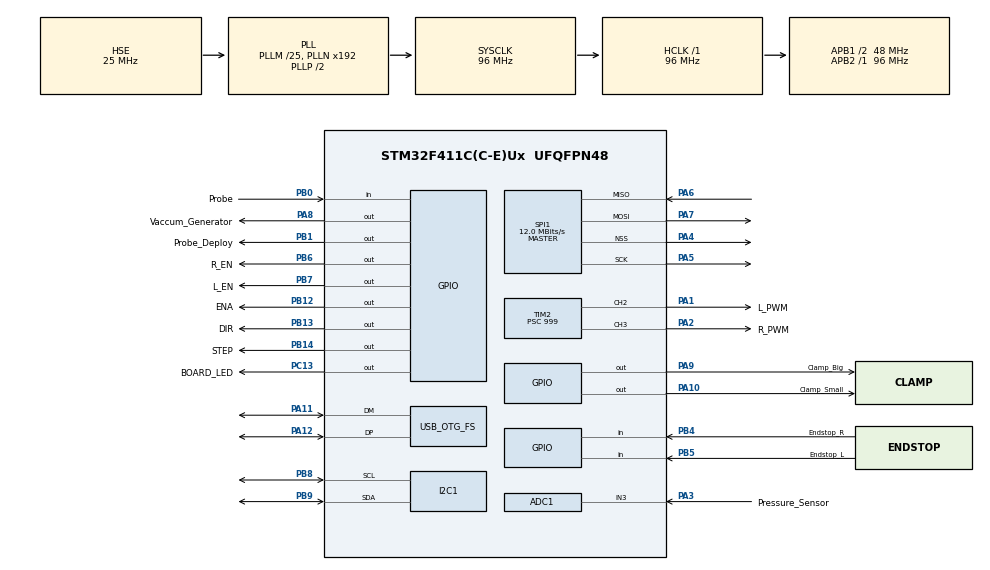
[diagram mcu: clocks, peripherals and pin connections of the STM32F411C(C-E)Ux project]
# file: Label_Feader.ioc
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ADC1.Channel-1\#ChannelRegularConversion=ADC_CHANNEL_3
ADC1.ContinuousConvMode=ENABLE
ADC1.DMAContinuousRequests=ENABLE
ADC1.DiscontinuousConvMode=DISABLE
ADC1.NbrOfConversionFlag=1
ADC1.Rank-1\#ChannelRegularConversion=1
ADC1.SamplingTime-1\#ChannelRegularConversion=ADC_SAMPLETIME_144CYCLES
ADC1.ScanConvMode=ENABLE
ADC1.master=1
Dma.ADC1.0.Direction=DMA_PERIPH_TO_MEMORY
Dma.ADC1.0.FIFOMode=DMA_FIFOMODE_DISABLE
Dma.ADC1.0.Instance=DMA2_Stream0
Dma.ADC1.0.MemDataAlignment=DMA_MDATAALIGN_HALFWORD
Dma.ADC1.0.MemInc=DMA_MINC_ENABLE
Dma.ADC1.0.Mode=DMA_CIRCULAR
Dma.ADC1.0.PeriphDataAlignment=DMA_PDATAALIGN_HALFWORD
Dma.ADC1.0.PeriphInc=DMA_PINC_DISABLE
Dma.ADC1.0.Priority=DMA_PRIORITY_LOW
Dma.Request0=ADC1
I2C1.I2C_Mode=I2C_Standard
Mcu.Family=STM32F4
Mcu.Name=STM32F411C(C-E)Ux
Mcu.Package=UFQFPN48
NVIC.DMA2_Stream0_IRQn=true\:0\:0\:false\:false\:true\:false\:true\:true
NVIC.OTG_FS_IRQn=true\:0\:0\:false\:false\:true\:false\:true\:true
NVIC.PriorityGroup=NVIC_PRIORITYGROUP_4
NVIC.TIM1_UP_TIM10_IRQn=true\:15\:0\:false\:false\:true\:false\:true\:true
NVIC.TIM3_IRQn=true\:0\:0\:false\:false\:true\:true\:true\:true
NVIC.TimeBase=TIM1_UP_TIM10_IRQn
NVIC.TimeBaseIP=TIM1
PA1.GPIO_Label=L_PWM
PA1.Signal=S_TIM2_CH2
PA10.GPIO_Label=Clamp_Small
PA10.Signal=GPIO_Output
PA11.Mode=Device_Only
PA11.Signal=USB_OTG_FS_DM
PA12.Mode=Device_Only
PA12.Signal=USB_OTG_FS_DP
PA13.Mode=Serial_Wire
PA13.Signal=SYS_JTMS-SWDIO
PA14.Mode=Serial_Wire
PA14.Signal=SYS_JTCK-SWCLK
PA2.GPIO_Label=R_PWM
PA2.Signal=S_TIM2_CH3
PA3.GPIO_Label=Pressure_Sensor
PA3.Signal=ADCx_IN3
PA4.Mode=NSS_Signal_Hard_Output
PA4.Signal=SPI1_NSS
PA5.Mode=Full_Duplex_Master
PA5.Signal=SPI1_SCK
PA6.Mode=Full_Duplex_Master
PA6.Signal=SPI1_MISO
PA7.Mode=Full_Duplex_Master
PA7.Signal=SPI1_MOSI
PA8.GPIO_Label=Vaccum_Generator
PA8.Signal=GPIO_Output
PA9.GPIO_Label=Clamp_Big
PA9.Signal=GPIO_Output
PB0.GPIO_Label=Probe
PB0.GPIO_PuPd=GPIO_PULLUP
PB0.Signal=GPIO_Input
PB1.GPIO_Label=Probe_Deploy
PB1.Signal=GPIO_Output
PB12.GPIO_Label=ENA
PB12.Signal=GPIO_Output
PB13.GPIO_Label=DIR
PB13.Signal=GPIO_Output
PB14.GPIO_Label=STEP
PB14.Signal=GPIO_Output
PB4.GPIO_Label=Endstop_R
PB4.Signal=GPIO_Input
PB5.GPIO_Label=Endstop_L
PB5.Signal=GPIO_Input
PB6.GPIO_Label=R_EN
PB6.Signal=GPIO_Output
PB7.GPIO_Label=L_EN
PB7.Signal=GPIO_Output
PB8.Mode=I2C
PB8.Signal=I2C1_SCL
PB9.Mode=I2C
PB9.Signal=I2C1_SDA
PC13-ANTI_TAMP.GPIO_Label=BOARD_LED
PC13-ANTI_TAMP.Signal=GPIO_Output
PC14-OSC32_IN.Mode=LSE-External-Oscillator
PC14-OSC32_IN.Signal=RCC_OSC32_IN
PC15-OSC32_OUT.Mode=LSE-External-Oscillator
PC15-OSC32_OUT.Signal=RCC_OSC32_OUT
PH0\ -\ OSC_IN.Mode=HSE-External-Oscillator
PH0\ -\ OSC_IN.Signal=RCC_OSC_IN
PH1\ -\ OSC_OUT.Mode=HSE-External-Oscillator
PH1\ -\ OSC_OUT.Signal=RCC_OSC_OUT
ProjectManager.HeapSize=0x200
ProjectManager.StackSize=0x400
ProjectManager.TargetToolchain=STM32CubeIDE
RCC.48MHZClocksFreq_Value=48000000
RCC.AHBFreq_Value=96000000
RCC.APB1CLKDivider=RCC_HCLK_DIV2
RCC.APB1Freq_Value=48000000
RCC.APB1TimFreq_Value=96000000
RCC.APB2Freq_Value=96000000
RCC.APB2TimFreq_Value=96000000
RCC.CortexFreq_Value=96000000
RCC.EnbaleCSS=true
RCC.HCLKFreq_Value=96000000
RCC.HSE_VALUE=25000000
RCC.HSI_VALUE=16000000
RCC.PLLM=25
RCC.SYSCLKFreq_VALUE=96000000
RCC.SYSCLKSource=RCC_SYSCLKSOURCE_PLLCLK
RCC.VCOOutputFreq_Value=192000000
SH.ADCx_IN3.0=ADC1_IN3,IN3
SH.S_TIM2_CH2.0=TIM2_CH2,PWM Generation2 CH2
SH.S_TIM2_CH3.0=TIM2_CH3,PWM Generation3 CH3
SPI1.BaudRatePrescaler=SPI_BAUDRATEPRESCALER_8
SPI1.CLKPhase=SPI_PHASE_2EDGE
SPI1.CalculateBaudRate=12.0 MBits/s
SPI1.DataSize=SPI_DATASIZE_16BIT
SPI1.Direction=SPI_DIRECTION_2LINES
SPI1.Mode=SPI_MODE_MASTER
SPI1.VirtualNSS=VM_NSSHARD
SPI1.VirtualType=VM_MASTER
TIM2.Channel-PWM\ Generation2\ CH2=TIM_CHANNEL_2
TIM2.Channel-PWM\ Generation3\ CH3=TIM_CHANNEL_3
TIM2.ClockDivision=TIM_CLOCKDIVISION_DIV2
TIM2.Period=127
TIM2.Prescaler=999
TIM3.AutoReloadPreload=TIM_AUTORELOAD_PRELOAD_ENABLE
TIM3.ClockDivision=TIM_CLOCKDIVISION_DIV4
TIM3.Period=14999
USB_DEVICE.APP_RX_DATA_SIZE=128
USB_DEVICE.APP_TX_DATA_SIZE=128
USB_DEVICE.CLASS_NAME_FS=CDC
USB_DEVICE.MANUFACTURER_STRING=Aplisens S.A.
USB_DEVICE.PRODUCT_STRING_CDC_FS=STM32 Label Feader V0.1
USB_DEVICE.VirtualMode=Cdc
USB_DEVICE.VirtualModeFS=Cdc_FS
USB_OTG_FS.VirtualMode=Device_Only
VP_SYS_VS_tim1.Mode=TIM1
VP_TIM2_VS_ClockSourceITR.Mode=TriggerSource_ITR0
VP_TIM2_VS_ControllerModeClock.Mode=Clock Mode
VP_TIM3_VS_ClockSourceINT.Mode=Internal
VP_USB_DEVICE_VS_USB_DEVICE_CDC_FS.Mode=CDC_FS
board=custom

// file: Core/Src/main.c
/* USER CODE BEGIN Header */
/**
 ******************************************************************************
 * @file           : main.c
 * @brief          : Main program body
 ******************************************************************************
 * @attention
 *
 * Copyright (c) 2022 STMicroelectronics.
 * All rights reserved.
 *
 * This software is licensed under terms that can be found in the LICENSE file
 * in the root directory of this software component.
 * If no LICENSE file comes with this software, it is provided AS-IS.
 *
 ******************************************************************************
 */
/* USER CODE END Header */
#include "main.h"
#include "adc.h"
#include "dma.h"
#include "i2c.h"
#include "spi.h"
#include "tim.h"
#include "usb_device.h"
#include "gpio.h"

/* USER CODE BEGIN Includes */
#include "usbd_cdc_if.h"
#include "util.h"

/* USER CODE END Includes */

/* USER CODE BEGIN PV */

PID_TypeDef hPID;
double PIDAngle, PIDOut, PIDSetpoint;

uint16_t vaccumSensorValue;

AS5048A_TypeDef hASA;

Motor_TypeDef hMOT;

STEPPER_TypeDef hSTEP;

CONFIG_TypeDef config;

uint8_t CDC_TX_buffer[APP_TX_DATA_SIZE];
uint8_t CDC_RX_buffer[APP_RX_DATA_SIZE];
uint32_t Len;
uint8_t cnt = 0;
/* USER CODE END PV */

void SystemClock_Config(void);

int main(void)
{

  /* MCU Configuration--------------------------------------------------------*/

  /* Reset of all peripherals, Initializes the Flash interface and the Systick. */
  HAL_Init();

  /* Configure the system clock */
  SystemClock_Config();

  /* Initialize all configured peripherals */
  MX_GPIO_Init();
  MX_DMA_Init();
  MX_ADC1_Init();
  MX_SPI1_Init();
  MX_USB_DEVICE_Init();
  MX_TIM2_Init();
  MX_TIM3_Init();
  MX_I2C1_Init();
  /* USER CODE BEGIN 2 */

  	HAL_ADC_Start_DMA(&hadc1, (uint32_t *) &vaccumSensorValue, sizeof(vaccumSensorValue));

	AS5048A_Init(&hASA, false);
	AS5048A_ConnectToSPI(&hASA, &hspi1);

	Motor_Init(&hMOT, &htim2);
	Motor_Enable(&hMOT);

	PID_Init(&hPID);
	PID(&hPID, &PIDAngle, &PIDOut, &PIDSetpoint, 2, 5, 1, _PID_P_ON_E, _PID_CD_DIRECT);
	PID_SetMode(&hPID, _PID_MODE_AUTOMATIC);
	PID_SetSampleTime(&hPID, 200);
	PID_SetOutputLimits(&hPID, -config.ARM_MAX_FORCE, config.ARM_MAX_FORCE);

	PIDAngle = (double) AS5048A_getRotation(&hASA);
#ifdef DEBUG
	sprintf((char*)CDC_TX_buffer, "%f", PIDAngle);
	UTIL_send_CDC((char*)CDC_TX_buffer);
#endif

	HAL_TIM_Base_Start_IT(&htim3);

	Stepper_Init(&hSTEP, 13, 14, true);
	Stepper_setEnablePin(&hSTEP, 16);

  /* USER CODE END 2 */

  /* Infinite loop */
	while (1) {

    /* USER CODE BEGIN 3 */

		//UTIL_send_CDC("WAITING_FOR_COMMAND");
		cnt = VCP_retrieveInputData(CDC_RX_buffer, &Len);
		if (Len > 0) {
			Len = 0;

			switch (UTIL_get_action_from_cdc(CDC_RX_buffer)) {

			case SET_LABEL:
				Stepper_move(&hSTEP, mm2steps(-3)); // TODO: Check if endstop triggered

				HAL_GPIO_WritePin(Probe_Deploy_GPIO_Port, Probe_Deploy_Pin, GPIO_PIN_SET); // Deploy probe
				HAL_Delay(config.PROBE_DEPLOY_WAIT);

				// TODO: Stepper home to probe, if not CDC send "ERROR_BOARD_CARRAIGE_EMPTY"

				if(Stepper_goToEndstop(&hSTEP, Probe_GPIO_Port, Probe_Pin, mm2steps(config.MAX_DISTANCE)) != true) {
					UTIL_send_CDC("ERROR_BOARD_CARRIAGE_EMPTY");
					break;
				}

				// Retract probe
				HAL_GPIO_WritePin(Probe_Deploy_GPIO_Port, Probe_Deploy_Pin, GPIO_PIN_RESET);
				HAL_Delay(config.PROBE_DEPLOY_WAIT);

				// Clamp Small deploy
				HAL_GPIO_WritePin(Clamp_Small_GPIO_Port, Clamp_Small_Pin, GPIO_PIN_SET);
				HAL_Delay(config.CLAMP_SMALL_DEPLOY_WAIT);

				// Clamp Big deploy
				HAL_GPIO_WritePin(Clamp_Big_GPIO_Port, Clamp_Big_Pin, GPIO_PIN_SET);
				HAL_Delay(config.CLAMP_BIG_DEPLOY_WAIT);

				// Retract clamps
				HAL_GPIO_WritePin(Clamp_Small_GPIO_Port, Clamp_Small_Pin, GPIO_PIN_RESET);
				HAL_GPIO_WritePin(Clamp_Big_GPIO_Port, Clamp_Big_Pin, GPIO_PIN_RESET);
				HAL_Delay(config.CLAMP_BIG_DEPLOY_WAIT);

				UTIL_send_CDC("OK");
				break;
			case NEXT_LABEL: {
				bool isLabelPicked = false;
				uint8_t attempts = 3;

				Motor_Enable(&hMOT);

				while(!isLabelPicked && attempts > 0) {
					PIDSetpoint = (double) config.ARM_PICK_ANGLE;
					UTIL_wait_PID_stable(&PIDAngle, &PIDSetpoint, &config.ARM_PID_POSITION_ACCURACY, &config.ARM_PID_POSITION_TIME);

					HAL_GPIO_WritePin(Vaccum_Generator_GPIO_Port, Vaccum_Generator_Pin, GPIO_PIN_SET);

					PIDSetpoint = (double) config.ARM_MEASURE_ANGLE;
					UTIL_wait_PID_stable(&PIDAngle, &PIDSetpoint, &config.ARM_PID_POSITION_ACCURACY, &config.ARM_PID_POSITION_TIME);

					if(vaccumSensorValue > config.VACCUM_MIN_VALUE) {
						isLabelPicked = true; break;
					}

					attempts--;
				}

				if (attempts == 0) {
					UTIL_send_CDC("ERROR_UNABLE_TO_PICK_LABEL");
					break;
				}
				PIDSetpoint = (double) config.ARM_PLACE_ANGLE;
				UTIL_wait_PID_stable(&PIDAngle, &PIDSetpoint, &config.ARM_PID_POSITION_ACCURACY, &config.ARM_PID_POSITION_TIME);

				HAL_GPIO_WritePin(Vaccum_Generator_GPIO_Port, Vaccum_Generator_Pin, GPIO_PIN_RESET);

				HAL_Delay(200);

				Motor_Disable(&hMOT);
				break;
			}

			case REFILL:

				break;
			case GET_CONFIG:

				break;
			case CALIBRATE_ARM:

				break;
			case SET_CONFIG:

				break;
			case ERROR_UNKNOW_COMMAND:
				memset(CDC_TX_buffer, '\0', 64);
				memcpy("UNKNOW COMMAND.", CDC_TX_buffer, 15);
				CDC_Transmit_FS(CDC_TX_buffer, sizeof(CDC_TX_buffer));
				break;
			default:
				break;
			}
		}

	}
  /* USER CODE END 3 */
}

void SystemClock_Config(void)
{
  RCC_OscInitTypeDef RCC_OscInitStruct = {0};
  RCC_ClkInitTypeDef RCC_ClkInitStruct = {0};

  /** Configure the main internal regulator output voltage
  */
  __HAL_RCC_PWR_CLK_ENABLE();
  __HAL_PWR_VOLTAGESCALING_CONFIG(PWR_REGULATOR_VOLTAGE_SCALE1);

  /** Initializes the RCC Oscillators according to the specified parameters
  * in the RCC_OscInitTypeDef structure.
  */
  RCC_OscInitStruct.OscillatorType = RCC_OSCILLATORTYPE_HSE;
  RCC_OscInitStruct.HSEState = RCC_HSE_ON;
  RCC_OscInitStruct.PLL.PLLState = RCC_PLL_ON;
  RCC_OscInitStruct.PLL.PLLSource = RCC_PLLSOURCE_HSE;
  RCC_OscInitStruct.PLL.PLLM = 25;
  RCC_OscInitStruct.PLL.PLLN = 192;
  RCC_OscInitStruct.PLL.PLLP = RCC_PLLP_DIV2;
  RCC_OscInitStruct.PLL.PLLQ = 4;
  if (HAL_RCC_OscConfig(&RCC_OscInitStruct) != HAL_OK)
  {
    Error_Handler();
  }

  /** Initializes the CPU, AHB and APB buses clocks
  */
  RCC_ClkInitStruct.ClockType = RCC_CLOCKTYPE_HCLK|RCC_CLOCKTYPE_SYSCLK
                              |RCC_CLOCKTYPE_PCLK1|RCC_CLOCKTYPE_PCLK2;
  RCC_ClkInitStruct.SYSCLKSource = RCC_SYSCLKSOURCE_PLLCLK;
  RCC_ClkInitStruct.AHBCLKDivider = RCC_SYSCLK_DIV1;
  RCC_ClkInitStruct.APB1CLKDivider = RCC_HCLK_DIV2;
  RCC_ClkInitStruct.APB2CLKDivider = RCC_HCLK_DIV1;

  if (HAL_RCC_ClockConfig(&RCC_ClkInitStruct, FLASH_LATENCY_3) != HAL_OK)
  {
    Error_Handler();
  }

  /** Enables the Clock Security System
  */
  HAL_RCC_EnableCSS();
}

void HAL_TIM_PeriodElapsedCallback(TIM_HandleTypeDef *htim)
{
  if (htim->Instance == TIM1) {
    HAL_IncTick();
  }
  /* USER CODE BEGIN Callback 1 */

  if (htim->Instance == TIM3) {
	  if(Motor_isRunning(&hMOT)) {
		  PIDAngle = (double) AS5048A_getRotation(&hASA);
		  PID_Compute(&hPID);
		  Motor_Turn(&hMOT, PIDOut);
	  }
  }

  /* USER CODE END Callback 1 */
}

void Error_Handler(void)
{
  /* USER CODE BEGIN Error_Handler_Debug */
	/* User can add his own implementation to report the HAL error return state */
	__disable_irq();

	while (1) {
		     HAL_GPIO_TogglePin(BOARD_LED_GPIO_Port, BOARD_LED_Pin);
		     HAL_Delay(100);
	}
  /* USER CODE END Error_Handler_Debug */
}
